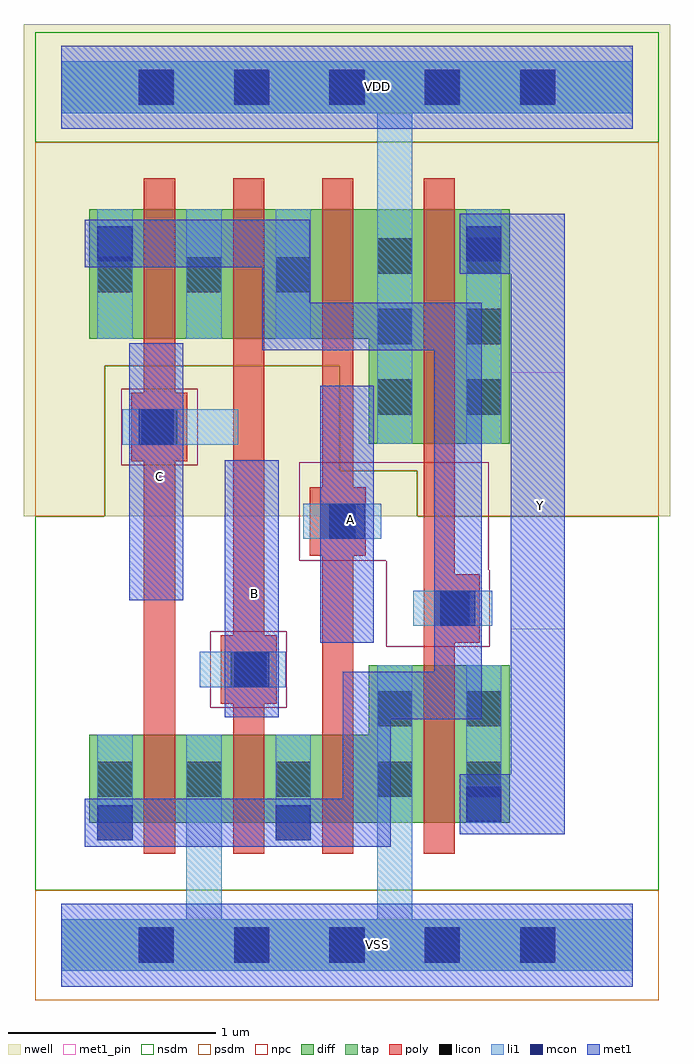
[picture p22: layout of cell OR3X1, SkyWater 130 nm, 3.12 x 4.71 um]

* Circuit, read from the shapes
.subckt OR3X1 A B C VDD VSS Y
XM1 VSS C n1 VSS sky130_fd_pr__nfet_01v8 w=0.425 l=0.15
XM2 n1 B VSS VSS sky130_fd_pr__nfet_01v8 w=0.425 l=0.15
XM3 VSS A n1 VSS sky130_fd_pr__nfet_01v8 w=0.425 l=0.15
XM4 Y n1 VSS VSS sky130_fd_pr__nfet_01v8 w=0.76 l=0.15
XM5 n2 C n1 VDD sky130_fd_pr__pfet_01v8 w=0.625 l=0.15
XM6 n3 B n2 VDD sky130_fd_pr__pfet_01v8 w=0.625 l=0.15
XM7 VDD A n3 VDD sky130_fd_pr__pfet_01v8 w=0.625 l=0.15
XM8 Y n1 VDD VDD sky130_fd_pr__pfet_01v8 w=1.13 l=0.15
.ends

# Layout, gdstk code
from math import pi, radians
import gdstk
lib = gdstk.Library(unit=1e-6, precision=1e-09)
def R(c, l, rs):  # rectangles x0, y0, x1, y1
    for r in rs: c.add(gdstk.rectangle(r[:2], r[2:], *l))
def A(c, l, x, y, w, h, nx, ny, dx, dy):  # array of equal rectangles
    R(c, l, [(x+i*dx, y+j*dy, x+i*dx+w, y+j*dy+h) for i in range(nx) for j in range(ny)])
def P(c, l, *ps):  # polygons
    for p in ps: c.add(gdstk.Polygon(p, *l))
nwell = (64, 20)
diff = (65, 20)
tap = (65, 44)
poly = (66, 20)
licon = (66, 44)
li1 = (67, 20)
mcon = (67, 44)
met1_pin = (68, 16)
met1 = (68, 20)
nsdm = (93, 44)
psdm = (94, 20)
npc = (95, 20)

l1m1_c_cdns_758728262107 = lib.new_cell('L1M1_C_CDNS_758728262107')
R(l1m1_c_cdns_758728262107, li1, [(-0.085,-0.085,0.085,0.165)])
R(l1m1_c_cdns_758728262107, mcon, [(-0.085,-0.085,0.085,0.085)])
R(l1m1_c_cdns_758728262107, met1, [(-0.115,-0.145,0.115,0.145)])

l1m1_c_cdns_758728262101 = lib.new_cell('L1M1_C_CDNS_758728262101')
R(l1m1_c_cdns_758728262101, li1, [(-0.085,-0.165,0.085,0.165)])
R(l1m1_c_cdns_758728262101, mcon, [(-0.085,-0.085,0.085,0.085)])
R(l1m1_c_cdns_758728262101, met1, [(-0.115,-0.145,0.115,0.145)])

pyl1con_c_cdns_758728262 = lib.new_cell('PYL1CON_C_CDNS_758728262102')
R(pyl1con_c_cdns_758728262, poly, [(-0.135,-0.165,0.135,0.165)])
R(pyl1con_c_cdns_758728262, licon, [(-0.085,-0.085,0.085,0.085)])
R(pyl1con_c_cdns_758728262, npc, [(-0.185,-0.185,0.185,0.185)])

l1m1_c_cdns_758728262100 = lib.new_cell('L1M1_C_CDNS_758728262100')
R(l1m1_c_cdns_758728262100, li1, [(-0.165,-0.085,0.165,0.085)])
R(l1m1_c_cdns_758728262100, mcon, [(-0.085,-0.085,0.085,0.085)])
R(l1m1_c_cdns_758728262100, met1, [(-0.115,-0.145,0.115,0.145)])

l1m1_c_cdns_758728262103 = lib.new_cell('L1M1_C_CDNS_758728262103')
R(l1m1_c_cdns_758728262103, li1, [(-0.085,-0.165,0.085,0.165)])
R(l1m1_c_cdns_758728262103, mcon, [(-0.085,-0.085,0.085,0.085)])
R(l1m1_c_cdns_758728262103, met1, [(-0.145,-0.115,0.145,0.115)])

licondiff_c_cdns_7587282 = lib.new_cell('LICONDIFF_C_CDNS_7587282621010')
R(licondiff_c_cdns_7587282, diff, [(-0.125,-0.145,0.125,0.145)])
R(licondiff_c_cdns_7587282, licon, [(-0.085,-0.085,0.085,0.085), (-0.085,-0.085,0.085,0.085)])

l1m1_c_cdns_758728262102 = lib.new_cell('L1M1_C_CDNS_7587282621022')
R(l1m1_c_cdns_758728262102, li1, [(-0.085,-0.085,0.085,0.165)])
R(l1m1_c_cdns_758728262102, mcon, [(-0.085,-0.085,0.085,0.085)])
R(l1m1_c_cdns_758728262102, met1, [(-0.145,-0.115,0.145,0.115)])

or3x1 = lib.new_cell('OR3X1')
R(or3x1, nwell, [(-0.18,2.07,2.94,4.445)])
P(or3x1, diff, [(2.165,3.55),(0.135,3.55),(0.135,2.925),(1.485,2.925),(1.485,2.42),(2.165,2.42)],
  [(2.165,1.35),(1.485,1.35),(1.485,1.015),(0.135,1.015),(0.135,0.59),(2.165,0.59)])
A(or3x1, poly, 0.4, 0.44, 0.15, 3.26, 3, 1, 0.43, 0)
R(or3x1, poly, [(1.75,0.44,1.9,3.7)])
A(or3x1, licon, 0.375, -0.085, 0.17, 0.17, 5, 2, 0.46, 4.14)
A(or3x1, licon, 0.175, 0.715, 0.17, 0.17, 3, 1, 0.43, 0)
A(or3x1, licon, 1.525, 2.56, 0.17, 0.17, 1, 3, 0, 0.34)
A(or3x1, licon, 1.955, 2.56, 0.17, 0.17, 1, 3, 0, 0.34)
R(or3x1, licon, [(1.525,0.715,1.695,0.885), (1.955,0.715,2.125,0.885), (1.525,1.055,1.695,1.225), (1.955,1.055,2.125,1.225), (0.175,3.15,0.345,3.32)])
R(or3x1, li1, [(0.175,0.59,0.345,1.015), (1.035,0.59,1.205,1.015), (1.955,0.59,2.125,1.35), (1.955,2.42,2.125,3.55), (0.175,2.925,0.345,3.55)])
P(or3x1, li1, [(2.76,4.265),(0,4.265),(0,4.015),(1.525,4.015),(1.525,2.42),(1.695,2.42),(1.695,4.015),(2.76,4.015)],
  [(2.76,0.125),(1.695,0.125),(1.695,1.35),(1.525,1.35),(1.525,0.125),(0.775,0.125),(0.775,1.015),(0.605,1.015),(0.605,0.125),(0,0.125),(0,-0.125),(2.76,-0.125)])
A(or3x1, mcon, 0.375, -0.085, 0.17, 0.17, 5, 2, 0.46, 4.14)
R(or3x1, met1_pin, [(0.79,1.1,1.05,2.34), (1.25,1.46,1.51,2.7), (2.17,1.525,2.43,2.765), (0.33,1.665,0.59,2.905)])
P(or3x1, met1, [(2.03,3.1),(1.2,3.1),(1.2,3.5),(0.275,3.5),(0.275,3.27),(0.97,3.27),(0.97,2.87),(1.8,2.87),(1.8,1.32),(1.36,1.32),(1.36,0.705),(0.26,0.705),(0.26,0.475),(1.59,0.475),(1.59,1.09),(2.03,1.09)],
  [(2.43,3.53),(2.04,3.53),(2.04,3.24),(2.17,3.24),(2.17,0.825),(2.01,0.825),(2.01,0.535),(2.43,0.535)])
R(or3x1, nsdm, [(-0.125,3.875,2.885,4.405)])
P(or3x1, nsdm, [(2.885,2.07),(1.72,2.07),(1.72,2.29),(1.345,2.29),(1.345,2.795),(0.21,2.795),(0.21,2.07),(-0.125,2.07),(-0.125,0.265),(2.885,0.265)])
R(or3x1, psdm, [(-0.125,-0.265,2.885,0.265)])
P(or3x1, psdm, [(2.885,3.875),(-0.125,3.875),(-0.125,2.07),(0.21,2.07),(0.21,2.795),(1.345,2.795),(1.345,2.29),(1.72,2.29),(1.72,2.07),(2.885,2.07)])
P(or3x1, npc, [(2.065,2.33),(1.15,2.33),(1.15,1.855),(1.57,1.855),(1.57,1.44),(2.065,1.44)])
or3x1.add(gdstk.FlexPath([(0.92,1.33),(0.755,1.33)], 0.17, ends=(0, 0.085), simple_path=True, layer=67, datatype=20))  # li1
or3x1.add(gdstk.FlexPath([(0.31,2.5),(0.855,2.5)], 0.17, ends="flush", simple_path=True, layer=67, datatype=20))  # li1
or3x1.add(gdstk.FlexPath([(1.7,1.625),(2.055,1.625)], 0.17, ends="flush", simple_path=True, layer=67, datatype=20))  # li1
or3x1.add(gdstk.FlexPath([(0.69,2.925),(0.69,3.55)], 0.17, ends="flush", simple_path=True, layer=67, datatype=20))  # li1
or3x1.add(gdstk.FlexPath([(1.12,2.925),(1.12,3.55)], 0.17, ends="flush", simple_path=True, layer=67, datatype=20))  # li1
or3x1.add(gdstk.FlexPath([(1.38,2.045),(1.17,2.045)], 0.17, ends="flush", simple_path=True, layer=67, datatype=20))  # li1
or3x1.add(gdstk.FlexPath([(0.46,1.665),(0.46,2.905)], 0.26, ends="flush", simple_path=True, layer=68, datatype=20))  # met1
or3x1.add(gdstk.FlexPath([(0,0),(2.76,0)], 0.4, ends="flush", simple_path=True, layer=68, datatype=20))  # met1
or3x1.add(gdstk.FlexPath([(0,4.14),(2.76,4.14)], 0.4, ends="flush", simple_path=True, layer=68, datatype=20))  # met1
or3x1.add(gdstk.FlexPath([(0.92,1.1),(0.92,2.34)], 0.26, ends="flush", simple_path=True, layer=68, datatype=20))  # met1
or3x1.add(gdstk.FlexPath([(1.38,1.46),(1.38,2.7)], 0.26, ends="flush", simple_path=True, layer=68, datatype=20))  # met1
or3x1.add(gdstk.FlexPath([(0,0),(2.76,0)], 0.4, ends="flush", simple_path=True, layer=68, datatype=16))  # met1_pin
or3x1.add(gdstk.FlexPath([(0,4.14),(2.76,4.14)], 0.4, ends="flush", simple_path=True, layer=68, datatype=16))  # met1_pin
or3x1.add(gdstk.FlexPath([(0,0),(2.76,0)], 0.25, ends="flush", simple_path=True, layer=65, datatype=44))  # tap
or3x1.add(gdstk.FlexPath([(0,4.14),(2.76,4.14)], 0.25, ends="flush", simple_path=True, layer=65, datatype=44))  # tap
or3x1.add(gdstk.Reference(l1m1_c_cdns_758728262107, (2.04,0.68)))
or3x1.add(gdstk.Reference(l1m1_c_cdns_758728262101, (2.04,3.385)))
or3x1.add(gdstk.Reference(pyl1con_c_cdns_758728262, (0.475,2.5), rotation=pi, x_reflection=True))
or3x1.add(gdstk.Reference(pyl1con_c_cdns_758728262, (0.905,1.33), rotation=pi))
or3x1.add(gdstk.Reference(pyl1con_c_cdns_758728262, (1.335,2.045), rotation=pi))
or3x1.add(gdstk.Reference(pyl1con_c_cdns_758728262, (1.885,1.625)))
or3x1.add(gdstk.Reference(l1m1_c_cdns_758728262100, (0.92,1.33), x_reflection=True))
or3x1.add(gdstk.Reference(l1m1_c_cdns_758728262100, (1.38,2.045), x_reflection=True))
or3x1.add(gdstk.Reference(l1m1_c_cdns_758728262100, (1.915,1.625)))
or3x1.add(gdstk.Reference(l1m1_c_cdns_758728262100, (0.46,2.5), x_reflection=True))
or3x1.add(gdstk.Reference(l1m1_c_cdns_758728262103, (0.26,3.385)))
or3x1.add(gdstk.Reference(licondiff_c_cdns_7587282, (0.69,3.235)))
or3x1.add(gdstk.Reference(licondiff_c_cdns_7587282, (1.12,3.235)))
or3x1.add(gdstk.Reference(l1m1_c_cdns_758728262102, (0.26,0.59)))
or3x1.add(gdstk.Reference(l1m1_c_cdns_758728262102, (1.12,0.59)))
or3x1.add(gdstk.Label('VSS', (1.525,0.005), layer=68, texttype=5))
or3x1.add(gdstk.Label('VDD', (1.525,4.145), layer=68, texttype=5))
or3x1.add(gdstk.Label('VDD', (1.525,4.145), layer=68, texttype=5))
or3x1.add(gdstk.Label('B', (0.935,1.695), layer=68, texttype=5))
or3x1.add(gdstk.Label('Y', (2.315,2.12), layer=68, texttype=5))
or3x1.add(gdstk.Label('A', (1.395,2.055), layer=68, texttype=5))
or3x1.add(gdstk.Label('C', (0.475,2.26), layer=68, texttype=5))

lib.write_gds('OR3X1.gds')
